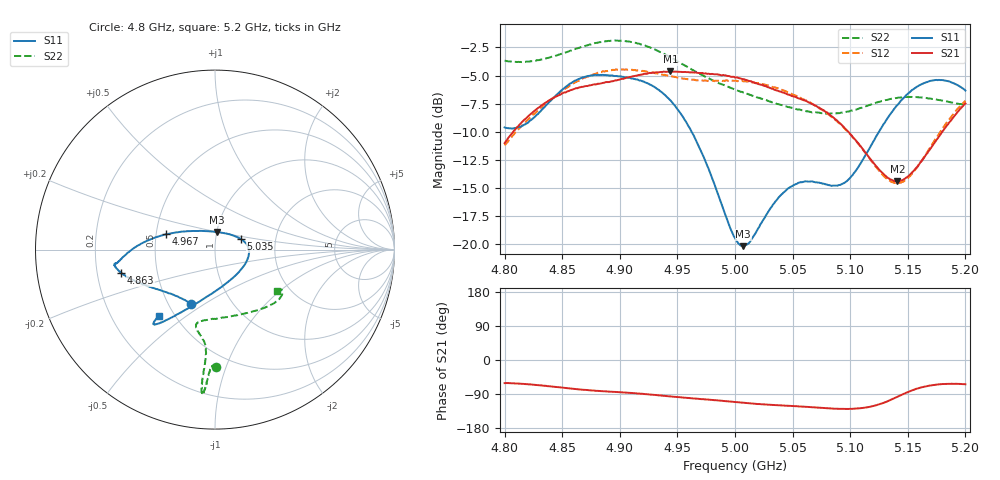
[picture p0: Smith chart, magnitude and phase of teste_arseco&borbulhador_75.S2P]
! Network Analyzer HP8722D
! Hewlett-Packard
! Data name: Linha & Wilkinson
! Saver's name: Rodrigo Anjos
! Comments: Teste da utilização de aquisição
! continua pelo VNA HP8722D
! Time and date: 15/4/2025 16:15
!  Frequency  S11  S21  S12  S22
# HZ  S  MA R 50
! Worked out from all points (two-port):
!   401 points, 4.8 GHz to 5.2 GHz, reference 50 ohm
!   highest |S21| = -4.64 dB at 4.944 GHz (marker M1); lowest = -14.4 dB at 5.141 GHz (marker M2)
!   |S21| within 3 dB of the highest: 4.832 GHz to 5.069 GHz (236.9 MHz wide, 4.78 % of centre); 5.198469 GHz to end of sweep
!   lowest |S11| = -20.2 dB at 5.007 GHz (marker M3), VSWR 1.22, Z = 50.2 + j9.89 ohm
!   |S11| at or under -10 dB: 4.962 GHz to 5.125 GHz (162.6 MHz wide, 3.22 % of centre)
!   |S22| runs from -8.4 to -1.9 dB; largest |S21 - S12| = 0.88
!   S11 on the Smith chart (normalised r, x): 4.8 GHz: 0.65, -0.44; 4.863 GHz: 0.30, -0.11; 4.967 GHz: 0.57, +0.11; 5.035 GHz: 1.32, +0.16; 5.2 GHz: 0.41, -0.40
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4.8e9  0.331 -113.9  0.2819 -61.0  0.2756 -175.0  0.6543 -89.5
4.819e9  0.3444 -133.5  0.3649 -63.8  0.3525 -173.3  0.6483 -91.2
4.863e9  0.5386 -166.1  0.4937 -77.1  0.5296 -176.5  0.7428 -93.5
4.867e9  0.5493 -167.6  0.5012 -78.3  0.5427 -177.4  0.7539 -93.7
4.902e9  0.555 -172.1  0.5439 -85.2  0.5977 175.2  0.8029 -95.2
4.934e9  0.4849 -178.1  0.582 -93.4  0.5743 171.8  0.7192 -95.6
4.944e9  0.4362 177.5  0.5862 -96.1  0.5583 172.0  0.6787 -95.3
4.967e9  0.2841 162.5  0.5778 -102.1  0.5352 174.0  0.5803 -94.9
5e9  0.1067 107.1  0.5512 -110.9  0.5334 176.5  0.4872 -99.2
5.007e9  0.09829 83.2  0.5421 -112.7  0.5304 176.2  0.4731 -100.9
5.014e9  0.1048 60.9  0.5305 -114.6  0.526 176.2  0.46 -102.5
5.035e9  0.1551 22.7  0.4851 -118.8  0.4973 175.1  0.4241 -103.8
5.05e9  0.182 6.9  0.4554 -121.5  0.4636 174.6  0.4037 -100.4
5.067e9  0.1907 -11.3  0.4203 -124.7  0.4222 174.0  0.3857 -92.0
5.086e9  0.1826 -41.8  0.3638 -128.4  0.3627 173.7  0.3816 -77.7
5.097e9  0.1909 -64.8  0.3219 -129.2  0.3201 174.3  0.3884 -68.6
5.134e9  0.3739 -116.2  0.1959 -107.0  0.1921 -159.8  0.4417 -43.4
5.141e9  0.4163 -120.1  0.1908 -97.1  0.1873 -148.8  0.4478 -40.2
5.153e9  0.4816 -125.0  0.2067 -81.0  0.2043 -130.2  0.4519 -35.9
5.17e9  0.533 -128.6  0.2678 -67.1  0.2724 -113.1  0.4443 -32.1
5.184e9  0.5323 -129.9  0.3383 -63.1  0.3489 -107.2  0.4316 -31.1
5.2e9  0.4825 -130.4  0.4226 -64.1  0.4345 -106.0  0.4154 -33.4
